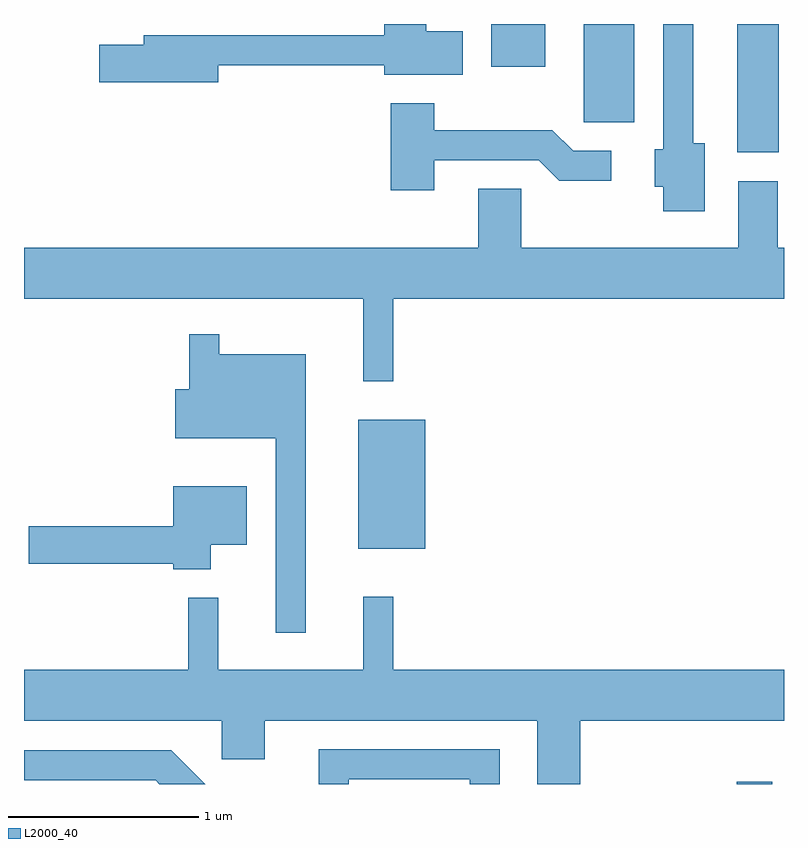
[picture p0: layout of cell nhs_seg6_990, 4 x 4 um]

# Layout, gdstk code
import gdstk
lib = gdstk.Library(unit=1e-6, precision=1e-09)
def R(c, l, rs):  # rectangles x0, y0, x1, y1
    for r in rs: c.add(gdstk.rectangle(r[:2], r[2:], *l))
def P(c, l, *ps):  # polygons
    for p in ps: c.add(gdstk.Polygon(p, *l))
L2000_40 = (2000, 40)

nhs_seg6_990 = lib.new_cell('nhs_seg6_990')
R(nhs_seg6_990, L2000_40, [(219.361,1534.162,219.549,1534.174), (217.371,1535.401,217.724,1536.079), (219.366,1537.486,219.584,1538.162), (218.556,1537.646,218.824,1538.162), (218.071,1537.936,218.354,1538.162)])
P(nhs_seg6_990, L2000_40, [(216.634,1537.946),(217.506,1537.946),(217.506,1537.896),(217.919,1537.896),(217.919,1538.124),(217.729,1538.124),(217.729,1538.162),(217.506,1538.162),(217.506,1538.104),(216.241,1538.104),(216.241,1538.054),(216.006,1538.054),(216.006,1537.856),(216.634,1537.856)],
  [(219.194,1537.534),(219.134,1537.534),(219.134,1538.162),(218.976,1538.162),(218.976,1537.504),(218.931,1537.504),(218.931,1537.306),(218.976,1537.306),(218.976,1537.176),(219.194,1537.176)],
  [(217.769,1537.446),(218.319,1537.446),(218.429,1537.336),(218.703,1537.336),(218.703,1537.494),(218.502,1537.494),(218.392,1537.604),(217.769,1537.604),(217.769,1537.744),(217.541,1537.744),(217.541,1537.286),(217.769,1537.286)],
  [(217.554,1536.716),(219.611,1536.716),(219.611,1536.984),(219.579,1536.984),(219.579,1537.334),(219.371,1537.334),(219.371,1536.984),(218.229,1536.984),(218.229,1537.294),(218.001,1537.294),(218.001,1536.984),(215.611,1536.984),(215.611,1536.716),(217.396,1536.716),(217.396,1536.283),(217.554,1536.283)],
  [(217.094,1536.424),(216.639,1536.424),(216.639,1536.528),(216.481,1536.528),(216.481,1536.239),(216.406,1536.239),(216.406,1535.981),(216.936,1535.981),(216.936,1534.958),(217.094,1534.958)],
  [(216.594,1535.421),(216.784,1535.421),(216.784,1535.729),(216.396,1535.729),(216.396,1535.519),(215.636,1535.519),(215.636,1535.321),(216.396,1535.321),(216.396,1535.291),(216.594,1535.291)],
  [(218.539,1534.496),(219.611,1534.496),(219.611,1534.764),(217.554,1534.764),(217.554,1535.148),(217.396,1535.148),(217.396,1534.764),(216.634,1534.764),(216.634,1535.143),(216.476,1535.143),(216.476,1534.764),(215.611,1534.764),(215.611,1534.496),(216.651,1534.496),(216.651,1534.291),(216.879,1534.291),(216.879,1534.496),(218.311,1534.496),(218.311,1534.162),(218.539,1534.162)],
  [(217.319,1534.186),(217.956,1534.186),(217.956,1534.162),(218.114,1534.162),(218.114,1534.344),(217.161,1534.344),(217.161,1534.162),(217.319,1534.162)],
  [(216.387,1534.339),(215.611,1534.339),(215.611,1534.181),(216.304,1534.181),(216.323,1534.162),(216.564,1534.162)])

lib.write_gds('nhs_seg6_990.gds')
